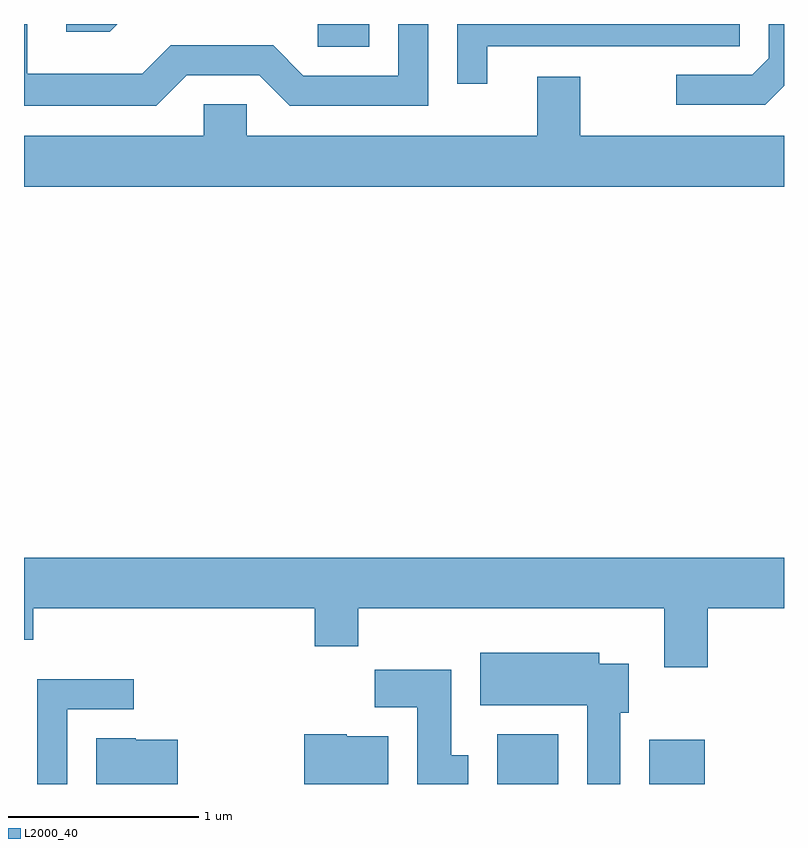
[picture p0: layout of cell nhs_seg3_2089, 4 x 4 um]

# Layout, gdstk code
import gdstk
lib = gdstk.Library(unit=1e-6, precision=1e-09)
def R(c, l, rs):  # rectangles x0, y0, x1, y1
    for r in rs: c.add(gdstk.rectangle(r[:2], r[2:], *l))
def P(c, l, *ps):  # polygons
    for p in ps: c.add(gdstk.Polygon(p, *l))
L2000_40 = (2000, 40)

nhs_seg3_2089 = lib.new_cell('nhs_seg3_2089')
R(nhs_seg3_2089, L2000_40, [(248.101,1213.892,248.424,1214.154), (248.901,1213.892,249.194,1214.124), (247.158,1217.771,247.429,1217.892)])
P(nhs_seg3_2089, L2000_40, [(246.103,1217.892),(245.833,1217.892),(245.833,1217.851),(246.062,1217.851)],
  [(246.467,1217.621),(246.849,1217.621),(247.009,1217.461),(247.739,1217.461),(247.739,1217.892),(247.581,1217.892),(247.581,1217.619),(247.082,1217.619),(246.922,1217.779),(246.384,1217.779),(246.234,1217.629),(245.629,1217.629),(245.629,1217.892),(245.611,1217.892),(245.611,1217.461),(246.307,1217.461)],
  [(249.611,1217.566),(249.611,1217.892),(249.531,1217.892),(249.531,1217.712),(249.444,1217.624),(249.043,1217.624),(249.043,1217.466),(249.512,1217.466)],
  [(248.049,1217.776),(249.379,1217.776),(249.379,1217.892),(247.891,1217.892),(247.891,1217.578),(248.049,1217.578)],
  [(249.611,1217.304),(248.539,1217.304),(248.539,1217.614),(248.311,1217.614),(248.311,1217.304),(246.784,1217.304),(246.784,1217.469),(246.556,1217.469),(246.556,1217.304),(245.611,1217.304),(245.611,1217.036),(249.611,1217.036)],
  [(249.209,1214.816),(249.611,1214.816),(249.611,1215.084),(245.611,1215.084),(245.611,1214.651),(245.659,1214.651),(245.659,1214.816),(247.141,1214.816),(247.141,1214.616),(247.369,1214.616),(247.369,1214.816),(248.981,1214.816),(248.981,1214.506),(249.209,1214.506)],
  [(248.749,1214.266),(248.794,1214.266),(248.794,1214.524),(248.639,1214.524),(248.639,1214.584),(248.011,1214.584),(248.011,1214.306),(248.576,1214.306),(248.576,1213.892),(248.749,1213.892)],
  [(247.949,1214.044),(247.859,1214.044),(247.859,1214.494),(247.456,1214.494),(247.456,1214.296),(247.681,1214.296),(247.681,1213.892),(247.949,1213.892)],
  [(245.839,1214.286),(246.188,1214.286),(246.188,1214.444),(245.681,1214.444),(245.681,1213.892),(245.839,1213.892)],
  [(247.529,1214.144),(247.31,1214.144),(247.31,1214.154),(247.086,1214.154),(247.086,1213.892),(247.529,1213.892)],
  [(246.419,1214.124),(246.2,1214.124),(246.2,1214.134),(245.991,1214.134),(245.991,1213.892),(246.419,1213.892)])

lib.write_gds('nhs_seg3_2089.gds')
